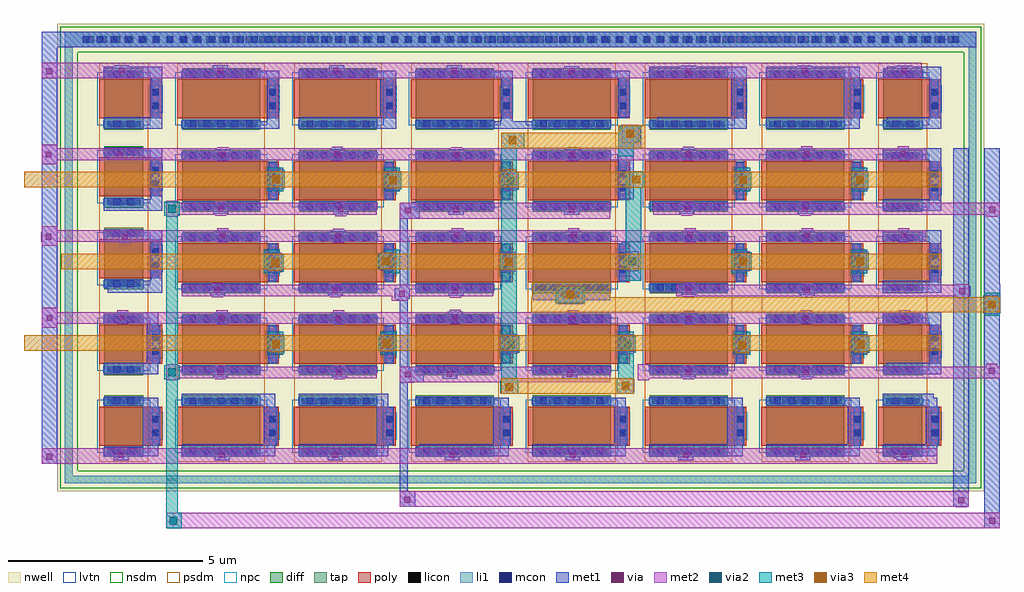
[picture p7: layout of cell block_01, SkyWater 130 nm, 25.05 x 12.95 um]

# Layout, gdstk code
from math import pi, radians
import gdstk
lib = gdstk.Library(unit=1e-6, precision=1e-09)
def R(c, l, rs):  # rectangles x0, y0, x1, y1
    for r in rs: c.add(gdstk.rectangle(r[:2], r[2:], *l))
def A(c, l, x, y, w, h, nx, ny, dx, dy):  # array of equal rectangles
    R(c, l, [(x+i*dx, y+j*dy, x+i*dx+w, y+j*dy+h) for i in range(nx) for j in range(ny)])
nwell = (64, 20)
diff = (65, 20)
tap = (65, 44)
poly = (66, 20)
licon = (66, 44)
li1 = (67, 20)
mcon = (67, 44)
met1 = (68, 20)
via = (68, 44)
met2 = (69, 20)
via2 = (69, 44)
met3 = (70, 20)
via3 = (70, 44)
met4 = (71, 20)
nsdm = (93, 44)
psdm = (94, 20)
npc = (95, 20)
lvtn = (125, 44)

sky130_fd_pr__pfet_01v8_ = lib.new_cell('sky130_fd_pr__pfet_01v8_lvt_J8833D')
R(sky130_fd_pr__pfet_01v8_, nwell, [(-0.97,-0.99,0.97,0.82)])
R(sky130_fd_pr__pfet_01v8_, diff, [(-0.79,-0.68,0.79,0.32)])
R(sky130_fd_pr__pfet_01v8_, poly, [(-0.5,-0.81,0.5,0.805)])
A(sky130_fd_pr__pfet_01v8_, licon, -0.73, -0.605, 0.17, 0.17, 1, 3, 0, 0.34)
A(sky130_fd_pr__pfet_01v8_, licon, 0.56, -0.605, 0.17, 0.17, 1, 3, 0, 0.34)
R(sky130_fd_pr__pfet_01v8_, licon, [(-0.255,0.555,-0.085,0.725), (0.085,0.555,0.255,0.725)])
R(sky130_fd_pr__pfet_01v8_, li1, [(-0.73,-0.7,-0.56,0.34), (0.56,-0.7,0.73,0.34), (-0.5,0.555,0.5,0.725)])
R(sky130_fd_pr__pfet_01v8_, mcon, [(-0.73,-0.445,-0.56,-0.275), (0.56,-0.445,0.73,-0.275), (-0.73,-0.085,-0.56,0.085), (0.56,-0.085,0.73,0.085), (-0.265,0.555,-0.095,0.725), (0.095,0.555,0.265,0.725)])
R(sky130_fd_pr__pfet_01v8_, met1, [(-0.76,-0.68,-0.53,0.32), (0.53,-0.68,0.76,0.32), (-0.48,0.525,0.48,0.755)])
R(sky130_fd_pr__pfet_01v8_, psdm, [(-0.915,-0.805,0.915,0.445)])
R(sky130_fd_pr__pfet_01v8_, npc, [(-0.355,0.455,0.355,0.825)])
R(sky130_fd_pr__pfet_01v8_, lvtn, [(-0.68,-0.86,0.68,0.5)])

c_sky130_fd_pr__pfet_01v8_ = lib.new_cell('sky130_fd_pr__pfet_01v8_lvt_J88B3D')
R(c_sky130_fd_pr__pfet_01v8_, nwell, [(-0.97,-1.49,0.97,1.32)])
R(c_sky130_fd_pr__pfet_01v8_, diff, [(-0.79,-1.18,0.79,0.82)])
R(c_sky130_fd_pr__pfet_01v8_, poly, [(-0.5,-1.31,0.5,1.305)])
A(c_sky130_fd_pr__pfet_01v8_, licon, -0.73, -1.115, 0.17, 0.17, 1, 6, 0, 0.34)
A(c_sky130_fd_pr__pfet_01v8_, licon, 0.56, -1.115, 0.17, 0.17, 1, 6, 0, 0.34)
R(c_sky130_fd_pr__pfet_01v8_, licon, [(-0.255,1.055,-0.085,1.225), (0.085,1.055,0.255,1.225)])
R(c_sky130_fd_pr__pfet_01v8_, li1, [(-0.73,-1.2,-0.56,0.84), (0.56,-1.2,0.73,0.84), (-0.5,1.055,0.5,1.225)])
A(c_sky130_fd_pr__pfet_01v8_, mcon, -0.73, -0.985, 0.17, 0.17, 1, 5, 0, 0.36)
A(c_sky130_fd_pr__pfet_01v8_, mcon, 0.56, -0.985, 0.17, 0.17, 1, 5, 0, 0.36)
R(c_sky130_fd_pr__pfet_01v8_, mcon, [(-0.265,1.055,-0.095,1.225), (0.095,1.055,0.265,1.225)])
R(c_sky130_fd_pr__pfet_01v8_, met1, [(-0.76,-1.18,-0.53,0.82), (0.53,-1.18,0.76,0.82), (-0.48,1.025,0.48,1.255)])
R(c_sky130_fd_pr__pfet_01v8_, psdm, [(-0.915,-1.305,0.915,0.945)])
R(c_sky130_fd_pr__pfet_01v8_, npc, [(-0.355,0.955,0.355,1.325)])
R(c_sky130_fd_pr__pfet_01v8_, lvtn, [(-0.68,-1.36,0.68,1)])

block_01 = lib.new_cell('block_01')
R(block_01, nwell, [(-6.9,-11.6,16.9,0.4)])
R(block_01, tap, [(-6.7,-11.4,16.7,-11.2), (-6.7,-11.2,-6.5,-0.2), (16.5,-11.2,16.7,-0.2), (-6.7,-0.2,16.7,0.2)])
A(block_01, licon, -6.135, -0.085, 0.17, 0.17, 66, 1, 0.34, 0)
R(block_01, li1, [(-6.7,-11.4,16.7,-11.2), (-6.7,-11.2,-6.5,-0.2), (16.5,-11.2,16.7,-0.2), (-6.7,-0.2,16.7,0.2)])
A(block_01, mcon, -6.245, -0.085, 0.17, 0.17, 63, 1, 0.36, 0)
A(block_01, met1, 5.3, -10.7, 2.4, 0.3, 3, 1, 3, 0)
A(block_01, met1, 2.3, -9.4, 2.4, 0.2, 4, 1, 3, 0)
A(block_01, met1, 15.5, -8.3, 0.3, 1, 1, 4, 0, 2.1)
A(block_01, met1, -4.5, -6.2, 0.3, 1, 1, 3, 0, 2.1)
A(block_01, met1, -3.7, -1, 2.5, 0.2, 4, 1, 3, 0)
R(block_01, met1, [(16.9,-12.55,17.3,-7.005), (1.9,-12,2.3,-11.6), (16.1,-12,16.5,-6.6), (1.9,-11.6,2.1,-8.8), (-7.3,-10.9,-6.9,-5.2), (-5.45,-10.8,-5.065,-10.7), (-2.85,-10.8,-2.465,-10.7), (0.05,-10.8,0.435,-10.7), (3.05,-10.8,3.435,-10.7), (6.15,-10.8,6.535,-10.7), (9.05,-10.8,9.435,-10.7), (12.05,-10.8,12.435,-10.7), (14.65,-10.8,15.035,-10.75), (14.56,-10.75,15.035,-10.7), (-5.7,-10.7,-4.3,-10.5), (-3.7,-10.7,-1.3,-10.4), (-0.7,-10.7,1.6,-10.4), (2.4,-10.7,4.7,-10.4), (14.3,-10.7,15.7,-10.4), (-4.7,-10.5,-4.3,-9.4), (-1.6,-10.4,-1.3,-9.4), (1.3,-10.4,1.6,-9.4), (4.3,-10.4,4.7,-9.4), (7.4,-10.4,7.7,-9.4), (10.3,-10.4,10.7,-9.4), (13.4,-10.4,13.7,-9.4), (15.4,-10.4,15.7,-9.4), (-5.7,-9.4,-4.3,-9.2), (-3.7,-9.4,-1.3,-9.1), (-0.7,-9.4,1.6,-9.1), (14.3,-9.4,15.7,-9.2), (14.3,-9.2,15.6,-9.1), (2.29,-8.805,2.51,-8.8), (1.9,-8.8,2.51,-8.76), (1.895,-8.76,2.51,-8.45), (2.985,-8.71,3.37,-8.445), (6.07,-8.71,6.455,-8.445), (-2.905,-8.68,-2.52,-8.415), (9.115,-8.68,9.5,-8.415), (12.145,-8.68,12.53,-8.415), (0.155,-8.675,0.54,-8.41), (-5.7,-8.6,-4.3,-8.3), (14.4,-8.6,15.8,-8.3), (1.9,-8.45,2.51,-8.42), (1.9,-8.42,2.395,-8.4), (1.9,-8.4,2.1,-6.685), (-4.6,-8.3,-4.3,-7.3), (10.47,-8.05,10.9,-7.645), (-1.495,-8.03,-1.065,-7.625), (4.535,-8.025,4.965,-7.62), (7.52,-8.025,7.95,-7.62), (13.52,-8.025,13.95,-7.62), (1.36,-7.935,1.745,-7.67), (-5.7,-7.3,-4.3,-7), (14.3,-7.3,15.8,-7), (9.135,-7.28,9.52,-7.015), (-2.86,-7.275,-2.475,-7.01), (0.135,-7.275,0.52,-7.01), (6.155,-7.27,6.54,-7.005), (12.14,-7.27,12.525,-7.005), (3.13,-7.26,3.515,-6.995), (16.9,-7.005,17.305,-6.29), (5.9,-6.745,6.64,-6.7), (5.31,-6.7,7.3,-6.23), (1.81,-6.685,2.11,-6.66), (1.765,-6.66,2.15,-6.395), (16.1,-6.6,16.535,-6.335), (3.135,-6.585,3.52,-6.32), (0.045,-6.575,0.43,-6.31), (12.16,-6.575,12.545,-6.31), (-2.975,-6.565,-2.59,-6.3), (9.125,-6.555,9.51,-6.29), (-5.6,-6.5,-4.2,-6.2), (14.3,-6.5,15.8,-6.2), (1.9,-6.395,2.1,-4.6), (16.1,-6.335,16.5,-2.8), (16.9,-6.29,17.3,-2.8), (7.6,-6.2,8.1,-5.2), (-1.515,-5.935,-1.085,-5.53), (4.475,-5.91,4.905,-5.505), (10.5,-5.9,10.93,-5.495), (13.5,-5.895,13.93,-5.49), (1.36,-5.89,1.75,-5.51), (-7.31,-5.2,-6.9,-4.935), (-5.7,-5.2,-4.2,-4.9), (14.3,-5.2,15.8,-4.9), (0.13,-5.175,0.515,-4.91), (-2.84,-5.165,-2.455,-4.9), (12.17,-5.165,12.555,-4.9), (3.185,-5.16,3.57,-4.895), (6.175,-5.16,6.56,-4.895), (9.16,-5.16,9.545,-4.895), (-7.3,-4.935,-6.9,-0.2), (1.9,-4.6,2.29,-4.595), (1.9,-4.595,2.405,-4.55), (1.895,-4.55,2.405,-4.24), (3.155,-4.505,3.54,-4.24), (6.12,-4.505,6.505,-4.24), (0.185,-4.49,0.57,-4.225), (9.075,-4.48,9.46,-4.215), (12.11,-4.48,12.495,-4.215), (-2.895,-4.475,-2.51,-4.21), (-5.7,-4.4,-4.2,-4.1), (14.3,-4.4,15.8,-4.1), (1.9,-4.24,2.405,-4.2), (2.205,-4.2,2.405,-4.175), (7.5,-4.1,7.9,-2.8), (4.525,-3.835,4.955,-3.43), (1.505,-3.82,1.935,-3.415), (10.49,-3.81,10.92,-3.405), (13.495,-3.81,13.925,-3.405), (-1.49,-3.795,-1.06,-3.39), (-5.6,-3.1,-4.2,-2.8), (14.3,-3.1,15.8,-2.8), (-2.835,-3.085,-2.45,-2.82), (3.165,-3.085,3.55,-2.82), (6.14,-3.08,6.525,-2.815), (0.1,-3.075,0.485,-2.81), (9.12,-3.07,9.505,-2.805), (12.155,-3.065,12.54,-2.8), (7.5,-2.8,8.1,-2.2), (-5.7,-2.3,-4.2,-2), (-3.7,-2.3,-1.2,-2.1), (-0.7,-2.3,1.8,-2), (2.4,-2.3,7.2,-2.1), (8.5,-2.3,10.8,-2), (11.3,-2.3,13.7,-2), (14.4,-2.3,15.8,-2), (-1.5,-2.1,-1.2,-1), (4.5,-2.1,4.8,-1), (1.4,-2,1.8,-1), (7.5,-2,7.8,-1), (10.4,-2,10.8,-1), (13.3,-2,13.7,-1), (-5.7,-1,-4.2,-0.7), (8.3,-1,10.8,-0.7), (11.3,-1,13.7,-0.7), (14.4,-1,15.8,-0.7), (-2.9,-0.8,-2.515,-0.67), (0.08,-0.8,0.465,-0.67), (3.1,-0.8,3.485,-0.665), (6.125,-0.8,6.51,-0.685), (-5.435,-0.7,-5.05,-0.665), (9.115,-0.7,9.5,-0.68), (12.1,-0.7,12.485,-0.675), (14.65,-0.7,15.035,-0.675), (-7.3,-0.2,16.7,0.2)])
R(block_01, via, [(17.03,-12.435,17.18,-12.285), (16.235,-11.905,16.385,-11.755), (2.015,-11.89,2.165,-11.74), (-7.18,-10.79,-7.03,-10.64), (-5.335,-10.745,-5.185,-10.595), (-2.735,-10.745,-2.585,-10.595), (0.165,-10.745,0.315,-10.595), (3.165,-10.745,3.315,-10.595), (6.265,-10.745,6.415,-10.595), (9.165,-10.745,9.315,-10.595), (12.165,-10.745,12.315,-10.595), (14.765,-10.745,14.915,-10.595), (2.025,-8.68,2.175,-8.53), (3.1,-8.655,3.25,-8.505), (6.185,-8.655,6.335,-8.505), (-2.79,-8.625,-2.64,-8.475), (9.23,-8.625,9.38,-8.475), (12.26,-8.625,12.41,-8.475), (0.27,-8.62,0.42,-8.47), (17.02,-8.585,17.17,-8.435), (10.61,-7.925,10.76,-7.775), (-1.355,-7.905,-1.205,-7.755), (4.675,-7.9,4.825,-7.75), (7.66,-7.9,7.81,-7.75), (13.66,-7.9,13.81,-7.75), (1.475,-7.88,1.625,-7.73), (-7.17,-7.23,-7.02,-7.08), (9.25,-7.225,9.4,-7.075), (-2.745,-7.22,-2.595,-7.07), (0.25,-7.22,0.4,-7.07), (-5.295,-7.215,-5.145,-7.065), (6.27,-7.215,6.42,-7.065), (12.255,-7.215,12.405,-7.065), (14.775,-7.215,14.925,-7.065), (3.245,-7.205,3.395,-7.055), (17.015,-6.88,17.165,-6.73), (6.035,-6.635,6.185,-6.485), (6.355,-6.635,6.505,-6.485), (1.88,-6.605,2.03,-6.455), (16.265,-6.545,16.415,-6.395), (3.25,-6.53,3.4,-6.38), (0.16,-6.52,0.31,-6.37), (12.275,-6.52,12.425,-6.37), (-2.86,-6.51,-2.71,-6.36), (9.24,-6.5,9.39,-6.35), (-1.375,-5.81,-1.225,-5.66), (4.615,-5.785,4.765,-5.635), (1.48,-5.775,1.63,-5.625), (7.79,-5.775,7.94,-5.625), (10.64,-5.775,10.79,-5.625), (13.64,-5.77,13.79,-5.62), (-7.195,-5.145,-7.045,-4.995), (-5.24,-5.135,-5.09,-4.985), (0.245,-5.12,0.395,-4.97), (-2.725,-5.11,-2.575,-4.96), (12.285,-5.11,12.435,-4.96), (14.76,-5.11,14.91,-4.96), (3.3,-5.105,3.45,-4.955), (6.29,-5.105,6.44,-4.955), (9.275,-5.105,9.425,-4.955), (2.025,-4.47,2.175,-4.32), (3.27,-4.45,3.42,-4.3), (6.235,-4.45,6.385,-4.3), (17.03,-4.45,17.18,-4.3), (0.3,-4.435,0.45,-4.285), (9.19,-4.425,9.34,-4.275), (12.225,-4.425,12.375,-4.275), (-2.78,-4.42,-2.63,-4.27), (4.665,-3.71,4.815,-3.56), (1.645,-3.695,1.795,-3.545), (10.63,-3.685,10.78,-3.535), (13.635,-3.685,13.785,-3.535), (-1.35,-3.67,-1.2,-3.52), (-5.37,-3.035,-5.22,-2.885), (-7.195,-3.03,-7.045,-2.88), (-2.72,-3.03,-2.57,-2.88), (3.28,-3.03,3.43,-2.88), (6.255,-3.025,6.405,-2.875), (0.215,-3.02,0.365,-2.87), (9.235,-3.015,9.385,-2.865), (12.27,-3.01,12.42,-2.86), (14.74,-3.01,14.89,-2.86), (7.735,-2.5,7.885,-2.35), (6.24,-0.895,6.39,-0.745), (-7.175,-0.89,-7.025,-0.74), (9.23,-0.89,9.38,-0.74), (12.215,-0.885,12.365,-0.735), (14.765,-0.885,14.915,-0.735), (-2.785,-0.88,-2.635,-0.73), (0.195,-0.88,0.345,-0.73), (-5.32,-0.875,-5.17,-0.725), (3.215,-0.875,3.365,-0.725)])
A(block_01, met2, -7.3, -7.3, 22.7, 0.3, 1, 3, 0, 2.1)
R(block_01, met2, [(-4.1,-12.55,17.3,-12.15), (16.17,-12.01,16.455,-12), (1.9,-12,16.5,-11.6), (-7.3,-10.9,15.7,-10.5), (-5.4,-10.5,-5.115,-10.485), (-2.8,-10.5,-2.515,-10.485), (0.1,-10.5,0.385,-10.485), (3.1,-10.5,3.385,-10.485), (6.2,-10.5,6.485,-10.485), (9.1,-10.5,9.385,-10.485), (12.1,-10.5,12.385,-10.485), (14.7,-10.5,14.985,-10.485), (1.945,-8.81,2.26,-8.8), (1.9,-8.8,7.3,-8.4), (-4.1,-8.75,-3.8,-8.7), (8,-8.75,8.3,-8.7), (-2.855,-8.73,-2.57,-8.7), (9.165,-8.73,9.45,-8.7), (12.195,-8.73,12.48,-8.7), (0.205,-8.725,0.49,-8.7), (-4.1,-8.7,1.3,-8.4), (8,-8.7,17.3,-8.4), (-4.1,-8.4,-3.8,-8.34), (-2.855,-8.4,-2.57,-8.365), (0.205,-8.4,0.49,-8.36), (3.035,-8.4,3.32,-8.395), (6.12,-8.4,6.405,-8.395), (8,-8.4,8.3,-8.34), (9.165,-8.4,9.45,-8.365), (12.195,-8.4,12.48,-8.365), (16.955,-8.4,17.24,-8.325), (10.52,-8.1,10.85,-7.595), (-1.445,-8.08,-1.115,-7.575), (4.585,-8.075,4.915,-7.57), (7.57,-8.075,7.9,-7.57), (13.57,-8.075,13.9,-7.57), (1.42,-8.025,1.7,-7.985), (1.41,-7.985,1.7,-7.62), (1.42,-7.62,1.7,-7.59), (-7.3,-7.4,-6.895,-7.3), (9.185,-7.33,9.47,-7.3), (-2.81,-7.325,-2.525,-7.3), (0.185,-7.325,0.47,-7.3), (-5.36,-7.32,-5.075,-7.3), (6.205,-7.32,6.49,-7.3), (12.19,-7.32,12.475,-7.3), (14.71,-7.32,14.995,-7.3), (3.18,-7.31,3.465,-7.3), (16.925,-7.055,17.255,-6.55), (-7.3,-7,-6.895,-6.895), (-5.36,-7,-5.075,-6.955), (-2.81,-7,-2.525,-6.96), (0.185,-7,0.47,-6.96), (3.18,-7,3.465,-6.945), (6.205,-7,6.49,-6.955), (9.185,-7,9.47,-6.965), (12.19,-7,12.475,-6.955), (14.71,-7,14.995,-6.955), (5.95,-6.795,6.59,-6.325), (1.815,-6.71,2.1,-6.705), (1.695,-6.705,2.105,-6.6), (16.2,-6.65,16.485,-6.6), (3.185,-6.635,3.47,-6.6), (0.095,-6.625,0.38,-6.6), (12.21,-6.625,12.495,-6.6), (-2.925,-6.615,-2.64,-6.6), (9.175,-6.605,9.46,-6.6), (-3.7,-6.6,4.3,-6.3), (9,-6.6,16.5,-6.3), (-2.925,-6.3,-2.64,-6.25), (0.095,-6.3,0.38,-6.26), (3.185,-6.3,3.47,-6.27), (9.175,-6.3,9.46,-6.24), (12.21,-6.3,12.495,-6.26), (16.2,-6.3,16.485,-6.285), (-1.465,-5.985,-1.135,-5.48), (4.525,-5.96,4.855,-5.455), (7.7,-5.95,8.03,-5.445), (10.55,-5.95,10.88,-5.445), (13.55,-5.945,13.88,-5.44), (1.41,-5.94,1.7,-5.46), (-7.3,-5.3,-6.895,-5.2), (-5.305,-5.24,-5.02,-5.2), (0.18,-5.225,0.465,-5.2), (-2.79,-5.215,-2.505,-5.2), (12.22,-5.215,12.505,-5.2), (14.695,-5.215,14.98,-5.2), (3.235,-5.21,3.52,-5.2), (6.225,-5.21,6.51,-5.2), (9.21,-5.21,9.495,-5.2), (-7.3,-4.9,-6.895,-4.795), (-5.305,-4.9,-5.02,-4.875), (-2.79,-4.9,-2.505,-4.85), (0.18,-4.9,0.465,-4.86), (3.235,-4.9,3.52,-4.845), (6.225,-4.9,6.51,-4.845), (9.21,-4.9,9.495,-4.845), (12.22,-4.9,12.505,-4.85), (14.695,-4.9,14.98,-4.85), (1.9,-4.6,7.3,-4.2), (16.965,-4.555,17.25,-4.5), (-4.1,-4.55,-3.8,-4.5), (0.235,-4.54,0.52,-4.5), (9.125,-4.53,9.41,-4.5), (12.16,-4.53,12.445,-4.5), (-2.845,-4.525,-2.56,-4.5), (-4.1,-4.5,1.3,-4.2), (8.4,-4.5,17.3,-4.2), (-4.1,-4.2,-3.8,-4.14), (-2.845,-4.2,-2.56,-4.16), (0.235,-4.2,0.52,-4.175), (1.945,-4.2,2.26,-4.19), (3.205,-4.2,3.49,-4.19), (6.17,-4.2,6.455,-4.19), (8.4,-4.2,8.8,-4.19), (9.125,-4.2,9.41,-4.165), (12.16,-4.2,12.445,-4.165), (16.965,-4.2,17.25,-4.19), (4.575,-3.885,4.905,-3.38), (1.555,-3.87,1.885,-3.365), (10.54,-3.86,10.87,-3.355), (13.545,-3.86,13.875,-3.355), (-1.44,-3.845,-1.11,-3.34), (-7.3,-3.205,-6.9,-3.1), (-2.785,-3.135,-2.5,-3.1), (3.215,-3.135,3.5,-3.1), (6.19,-3.13,6.475,-3.1), (0.15,-3.125,0.435,-3.1), (9.17,-3.12,9.455,-3.1), (12.205,-3.115,12.49,-3.1), (14.675,-3.115,14.96,-3.1), (-7.3,-2.8,-6.9,-2.7), (-2.785,-2.8,-2.5,-2.77), (0.15,-2.8,0.435,-2.76), (3.215,-2.8,3.5,-2.77), (6.19,-2.8,6.475,-2.765), (9.17,-2.8,9.455,-2.755), (12.205,-2.8,12.49,-2.75), (14.675,-2.8,14.96,-2.75), (7.59,-2.655,8.035,-2.195), (-7.3,-1,15.3,-0.6)])
R(block_01, via2, [(-4.01,-12.455,-3.81,-12.255), (-4.05,-8.645,-3.85,-8.445), (10.585,-7.95,10.785,-7.75), (-1.38,-7.93,-1.18,-7.73), (4.65,-7.925,4.85,-7.725), (7.635,-7.925,7.835,-7.725), (13.635,-7.925,13.835,-7.725), (1.46,-7.91,1.66,-7.71), (16.99,-6.905,17.19,-6.705), (6.17,-6.66,6.37,-6.46), (-1.4,-5.835,-1.2,-5.635), (4.59,-5.81,4.79,-5.61), (1.455,-5.8,1.655,-5.6), (7.765,-5.8,7.965,-5.6), (10.615,-5.8,10.815,-5.6), (13.615,-5.795,13.815,-5.595), (-4.05,-4.445,-3.85,-4.245), (4.64,-3.735,4.84,-3.535), (1.62,-3.72,1.82,-3.52), (10.605,-3.71,10.805,-3.51), (13.61,-3.71,13.81,-3.51), (-1.375,-3.695,-1.175,-3.495), (7.71,-2.525,7.91,-2.325)])
R(block_01, met3, [(-4.1,-12.55,-3.7,-12.15), (-4.1,-12.15,-3.8,-8.725), (4.5,-9.1,4.9,-9.09), (7.5,-9.1,7.9,-9.06), (4.48,-9.09,4.935,-8.755), (7.465,-9.06,7.92,-8.725), (4.5,-8.755,4.9,-8.05), (-4.15,-8.725,-3.75,-8.365), (7.5,-8.725,7.9,-8.05), (-4.1,-8.365,-3.8,-4.525), (-1.5,-8.1,-1.1,-8.055), (1.4,-8.1,1.8,-8), (10.5,-8.1,10.9,-8.075), (13.5,-8.1,13.9,-8.05), (10.47,-8.075,10.9,-7.62), (-1.5,-8.055,-1.065,-7.6), (4.5,-8.05,4.965,-7.595), (7.5,-8.05,7.95,-7.595), (13.5,-8.05,13.95,-7.595), (1.35,-8,1.8,-7.595), (10.5,-7.62,10.9,-7.5), (-1.5,-7.6,-1.1,-7.5), (1.4,-7.595,1.8,-7.5), (4.5,-7.595,4.9,-5.935), (7.5,-7.595,7.9,-7.5), (13.5,-7.595,13.9,-7.5), (16.9,-7.1,17.3,-7.03), (16.875,-7.03,17.305,-6.575), (5.9,-6.77,6.64,-6.35), (16.9,-6.575,17.3,-6.5), (7.7,-6.2,8.1,-5.925), (-1.6,-6,-1.2,-5.96), (1.5,-6,1.9,-5.915), (10.4,-6,10.8,-5.925), (13.5,-6,13.9,-5.92), (-1.6,-5.96,-1.085,-5.505), (4.475,-5.935,4.905,-5.48), (7.65,-5.925,8.1,-5.47), (10.4,-5.925,10.93,-5.47), (13.5,-5.92,13.93,-5.465), (1.36,-5.915,1.9,-5.89), (1.335,-5.89,1.9,-5.485), (-1.6,-5.505,-1.2,-5.4), (1.5,-5.485,1.9,-5.4), (4.5,-5.48,4.9,-3.86), (7.7,-5.47,8.1,-3.8), (10.4,-5.47,10.8,-5.4), (13.5,-5.465,13.9,-5.4), (-4.15,-4.525,-3.75,-4.165), (-1.5,-3.9,-1.1,-3.82), (1.5,-3.9,1.9,-3.845), (10.5,-3.9,10.9,-3.835), (13.5,-3.9,13.9,-3.835), (4.5,-3.86,4.955,-3.405), (1.5,-3.845,1.935,-3.39), (10.49,-3.835,10.92,-3.38), (13.495,-3.835,13.925,-3.38), (-1.5,-3.82,-1.06,-3.365), (7.7,-3.8,8.18,-3.4), (4.5,-3.405,4.9,-2.8), (7.75,-3.4,8.18,-3.395), (1.5,-3.39,1.9,-3.3), (10.5,-3.38,10.9,-3.3), (13.5,-3.38,13.9,-3.3), (-1.5,-3.365,-1.1,-3.3), (7.5,-3,7.9,-2.63), (4.5,-2.8,5.095,-2.4), (7.5,-2.63,8.085,-2.4), (7.54,-2.4,8.085,-2.22)])
R(block_01, via3, [(4.605,-9.025,4.805,-8.825), (7.59,-8.995,7.79,-8.795), (10.585,-7.95,10.785,-7.75), (-1.38,-7.93,-1.18,-7.73), (13.635,-7.925,13.835,-7.725), (1.465,-7.9,1.665,-7.7), (16.99,-6.905,17.19,-6.705), (6.17,-6.66,6.37,-6.46), (-1.4,-5.835,-1.2,-5.635), (4.59,-5.81,4.79,-5.61), (10.615,-5.8,10.815,-5.6), (13.615,-5.795,13.815,-5.595), (1.45,-5.79,1.65,-5.59), (1.62,-3.72,1.82,-3.52), (10.605,-3.71,10.805,-3.51), (13.61,-3.71,13.81,-3.51), (7.865,-3.7,8.065,-3.5), (-1.375,-3.695,-1.175,-3.495), (4.69,-2.69,4.89,-2.49), (7.71,-2.525,7.91,-2.325)])
R(block_01, met4, [(4.5,-9.1,7.9,-8.7), (10.515,-8.055,10.855,-8), (-1.45,-8.035,-1.11,-8), (13.565,-8.03,13.905,-8), (1.395,-8.005,1.735,-8), (-7.75,-8,15.8,-7.6), (1.395,-7.6,1.735,-7.59), (16.92,-7.01,17.26,-7.005), (5.275,-7.005,17.295,-6.62), (5.3,-6.62,7.295,-6.23), (16.92,-6.62,17.26,-6.595), (-1.47,-5.94,-1.13,-5.9), (4.52,-5.915,4.86,-5.9), (10.545,-5.905,10.885,-5.9), (-6.8,-5.9,15.8,-5.5), (1.38,-5.5,1.72,-5.48), (10.545,-5.5,10.885,-5.49), (13.545,-5.5,13.885,-5.485), (1.55,-3.825,1.89,-3.8), (10.535,-3.815,10.875,-3.8), (13.54,-3.815,13.88,-3.8), (7.795,-3.805,8.135,-3.8), (-7.75,-3.8,15.8,-3.4), (-1.445,-3.4,-1.105,-3.385), (4.53,-3.4,4.87,-3.33), (7.795,-3.4,8.135,-3.39), (4.5,-2.8,8.2,-2.4), (7.5,-2.4,8.2,-2.2)])
R(block_01, nsdm, [(-6.825,-11.525,16.825,-11.075), (-6.825,-11.075,-6.375,-0.325), (16.375,-11.075,16.825,-0.325), (-6.825,-0.325,16.825,0.325)])
A(block_01, psdm, -3.815, -9.015, 2.25, 0.27, 6, 4, 3, 2.1)
A(block_01, psdm, 14.185, -9.015, 1.25, 0.27, 1, 4, 0, 2.1)
R(block_01, psdm, [(-5.815,-9.015,-4.565,-8.745), (-5.815,-6.915,-4.565,-6.545), (-5.815,-4.715,-4.565,-4.445), (-5.815,-2.615,-4.565,-2.445)])
block_01.add(gdstk.Reference(sky130_fd_pr__pfet_01v8_, (-5.01,-9.93), rotation=3*pi/2))
block_01.add(gdstk.Reference(c_sky130_fd_pr__pfet_01v8_, (-2.51,-9.93), rotation=3*pi/2))
block_01.add(gdstk.Reference(c_sky130_fd_pr__pfet_01v8_, (0.49,-9.93), rotation=3*pi/2))
block_01.add(gdstk.Reference(c_sky130_fd_pr__pfet_01v8_, (3.49,-9.93), rotation=3*pi/2))
block_01.add(gdstk.Reference(c_sky130_fd_pr__pfet_01v8_, (6.49,-9.93), rotation=3*pi/2))
block_01.add(gdstk.Reference(c_sky130_fd_pr__pfet_01v8_, (9.49,-9.93), rotation=3*pi/2))
block_01.add(gdstk.Reference(c_sky130_fd_pr__pfet_01v8_, (12.49,-9.93), rotation=3*pi/2))
block_01.add(gdstk.Reference(sky130_fd_pr__pfet_01v8_, (14.99,-9.93), rotation=3*pi/2))
block_01.add(gdstk.Reference(sky130_fd_pr__pfet_01v8_, (-5.01,-7.83), rotation=3*pi/2))
block_01.add(gdstk.Reference(c_sky130_fd_pr__pfet_01v8_, (-2.51,-7.83), rotation=3*pi/2))
block_01.add(gdstk.Reference(c_sky130_fd_pr__pfet_01v8_, (0.49,-7.83), rotation=3*pi/2))
block_01.add(gdstk.Reference(c_sky130_fd_pr__pfet_01v8_, (3.49,-7.83), rotation=3*pi/2))
block_01.add(gdstk.Reference(c_sky130_fd_pr__pfet_01v8_, (6.49,-7.83), rotation=3*pi/2))
block_01.add(gdstk.Reference(c_sky130_fd_pr__pfet_01v8_, (9.49,-7.83), rotation=3*pi/2))
block_01.add(gdstk.Reference(c_sky130_fd_pr__pfet_01v8_, (12.49,-7.83), rotation=3*pi/2))
block_01.add(gdstk.Reference(sky130_fd_pr__pfet_01v8_, (14.99,-7.83), rotation=3*pi/2))
block_01.add(gdstk.Reference(sky130_fd_pr__pfet_01v8_, (-5.01,-5.63), rotation=3*pi/2))
block_01.add(gdstk.Reference(c_sky130_fd_pr__pfet_01v8_, (-2.51,-5.73), rotation=3*pi/2))
block_01.add(gdstk.Reference(c_sky130_fd_pr__pfet_01v8_, (0.49,-5.73), rotation=3*pi/2))
block_01.add(gdstk.Reference(c_sky130_fd_pr__pfet_01v8_, (3.49,-5.73), rotation=3*pi/2))
block_01.add(gdstk.Reference(c_sky130_fd_pr__pfet_01v8_, (6.49,-5.73), rotation=3*pi/2))
block_01.add(gdstk.Reference(c_sky130_fd_pr__pfet_01v8_, (9.49,-5.73), rotation=3*pi/2))
block_01.add(gdstk.Reference(c_sky130_fd_pr__pfet_01v8_, (12.49,-5.73), rotation=3*pi/2))
block_01.add(gdstk.Reference(sky130_fd_pr__pfet_01v8_, (14.99,-5.73), rotation=3*pi/2))
block_01.add(gdstk.Reference(sky130_fd_pr__pfet_01v8_, (-5.01,-3.53), rotation=3*pi/2))
block_01.add(gdstk.Reference(c_sky130_fd_pr__pfet_01v8_, (-2.51,-3.63), rotation=3*pi/2))
block_01.add(gdstk.Reference(c_sky130_fd_pr__pfet_01v8_, (0.49,-3.63), rotation=3*pi/2))
block_01.add(gdstk.Reference(c_sky130_fd_pr__pfet_01v8_, (3.49,-3.63), rotation=3*pi/2))
block_01.add(gdstk.Reference(c_sky130_fd_pr__pfet_01v8_, (6.49,-3.63), rotation=3*pi/2))
block_01.add(gdstk.Reference(c_sky130_fd_pr__pfet_01v8_, (9.49,-3.63), rotation=3*pi/2))
block_01.add(gdstk.Reference(c_sky130_fd_pr__pfet_01v8_, (12.49,-3.63), rotation=3*pi/2))
block_01.add(gdstk.Reference(sky130_fd_pr__pfet_01v8_, (14.99,-3.63), rotation=3*pi/2))
block_01.add(gdstk.Reference(sky130_fd_pr__pfet_01v8_, (-5.01,-1.53), rotation=3*pi/2))
block_01.add(gdstk.Reference(c_sky130_fd_pr__pfet_01v8_, (-2.51,-1.53), rotation=3*pi/2))
block_01.add(gdstk.Reference(c_sky130_fd_pr__pfet_01v8_, (0.49,-1.53), rotation=3*pi/2))
block_01.add(gdstk.Reference(c_sky130_fd_pr__pfet_01v8_, (3.49,-1.53), rotation=3*pi/2))
block_01.add(gdstk.Reference(c_sky130_fd_pr__pfet_01v8_, (6.49,-1.53), rotation=3*pi/2))
block_01.add(gdstk.Reference(c_sky130_fd_pr__pfet_01v8_, (9.49,-1.53), rotation=3*pi/2))
block_01.add(gdstk.Reference(c_sky130_fd_pr__pfet_01v8_, (12.49,-1.53), rotation=3*pi/2))
block_01.add(gdstk.Reference(sky130_fd_pr__pfet_01v8_, (14.99,-1.53), rotation=3*pi/2))

lib.write_gds('block_01.gds')
